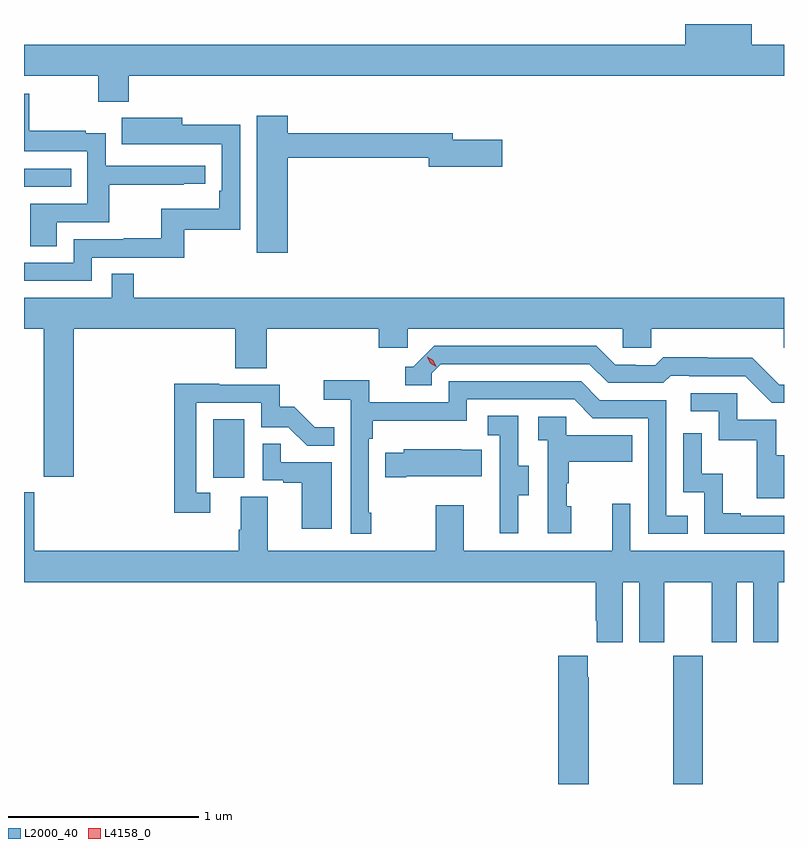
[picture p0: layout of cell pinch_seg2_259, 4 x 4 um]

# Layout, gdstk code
import gdstk
lib = gdstk.Library(unit=1e-6, precision=1e-09)
def R(c, l, rs):  # rectangles x0, y0, x1, y1
    for r in rs: c.add(gdstk.rectangle(r[:2], r[2:], *l))
def P(c, l, *ps):  # polygons
    for p in ps: c.add(gdstk.Polygon(p, *l))
L2000_40 = (2000, 40)
L4158_0 = (4158, 0)

pinch_seg2_259 = lib.new_cell('pinch_seg2_259')
R(pinch_seg2_259, L2000_40, [(892.795,658.561,892.95,659.236), (890.372,660.174,890.536,660.481), (889.377,661.704,889.625,661.8)])
P(pinch_seg2_259, L2000_40, [(889.928,662.288),(893.377,662.288),(893.377,662.452),(893.206,662.452),(893.206,662.561),(892.856,662.561),(892.856,662.452),(889.377,662.452),(889.377,662.288),(889.768,662.288),(889.768,662.153),(889.928,662.153)],
  [(889.549,661.518),(889.826,661.518),(889.826,661.714),(890.219,661.714),(890.219,661.719),(890.332,661.719),(890.332,661.815),(889.806,661.815),(889.806,661.987),(889.703,661.987),(889.703,661.999),(889.405,661.999),(889.405,662.193),(889.377,662.193),(889.377,661.89),(889.71,661.89),(889.71,661.614),(889.409,661.614),(889.409,661.39),(889.549,661.39)],
  [(890.764,661.858),(891.506,661.858),(891.506,661.811),(891.895,661.811),(891.895,661.953),(891.634,661.953),(891.634,661.987),(890.764,661.987),(890.764,662.077),(890.603,662.077),(890.603,661.356),(890.764,661.356)],
  [(889.734,661.332),(890.221,661.332),(890.221,661.479),(890.514,661.479),(890.514,662.03),(890.209,662.03),(890.209,662.068),(889.891,662.068),(889.891,661.928),(890.105,661.928),(890.105,661.929),(890.418,661.929),(890.418,661.684),(890.405,661.684),(890.405,661.588),(890.1,661.588),(890.1,661.433),(889.903,661.433),(889.903,661.428),(889.638,661.428),(889.638,661.305),(889.377,661.305),(889.377,661.209),(889.734,661.209)],
  [(889.64,660.956),(890.489,660.956),(890.489,660.748),(890.654,660.748),(890.654,660.956),(891.245,660.956),(891.245,660.858),(891.396,660.858),(891.396,660.956),(892.527,660.956),(892.527,660.858),(892.677,660.858),(892.677,660.956),(893.375,660.956),(893.375,660.858),(893.377,660.858),(893.377,661.12),(889.955,661.12),(889.955,661.247),(889.839,661.247),(889.839,661.12),(889.377,661.12),(889.377,660.956),(889.48,660.956),(889.48,660.177),(889.64,660.177)],
  [(893.377,660.663),(893.352,660.663),(893.21,660.805),(892.974,660.805),(892.974,660.808),(892.741,660.808),(892.699,660.765),(892.596,660.765),(892.596,660.768),(892.489,660.768),(892.39,660.867),(891.537,660.867),(891.426,660.756),(891.383,660.756),(891.383,660.66),(891.522,660.66),(891.522,660.723),(891.57,660.771),(892.353,660.771),(892.452,660.672),(892.741,660.672),(892.78,660.711),(892.879,660.711),(892.879,660.708),(893.172,660.708),(893.313,660.567),(893.377,660.567)],
  [(891.205,659.989),(891.192,659.989),(891.192,660.377),(891.212,660.377),(891.212,660.473),(891.708,660.473),(891.708,660.585),(892.272,660.585),(892.371,660.486),(892.662,660.486),(892.662,659.877),(892.871,659.877),(892.871,659.973),(892.758,659.973),(892.758,660.582),(892.408,660.582),(892.309,660.681),(891.612,660.681),(891.612,660.57),(891.194,660.57),(891.194,660.686),(890.955,660.686),(890.955,660.584),(891.096,660.584),(891.096,659.877),(891.205,659.877)],
  [(890.356,660.093),(890.283,660.093),(890.283,660.567),(890.625,660.567),(890.625,660.438),(890.769,660.438),(890.867,660.34),(891.011,660.34),(891.011,660.439),(890.907,660.439),(890.8,660.546),(890.724,660.546),(890.724,660.663),(890.405,660.663),(890.405,660.668),(890.167,660.668),(890.167,659.988),(890.356,659.988)],
  [(893.377,660.291),(893.335,660.291),(893.335,660.477),(893.13,660.477),(893.13,660.618),(892.887,660.618),(892.887,660.522),(893.034,660.522),(893.034,660.369),(893.233,660.369),(893.233,660.066),(893.377,660.066)],
  [(891.979,660.082),(892.033,660.082),(892.033,660.237),(891.978,660.237),(891.978,660.5),(891.819,660.5),(891.819,660.397),(891.882,660.397),(891.882,660.093),(891.881,660.093),(891.881,659.88),(891.979,659.88)],
  [(892.258,660.024),(892.233,660.024),(892.233,660.143),(892.243,660.143),(892.243,660.257),(892.577,660.257),(892.577,660.397),(892.23,660.397),(892.23,660.495),(892.083,660.495),(892.083,660.371),(892.134,660.371),(892.134,659.88),(892.258,659.88)],
  [(893.377,659.973),(893.149,659.973),(893.149,659.986),(893.054,659.986),(893.054,660.194),(892.944,660.194),(892.944,660.406),(892.848,660.406),(892.848,660.096),(892.956,660.096),(892.956,659.877),(893.377,659.877)],
  [(890.998,660.255),(890.729,660.255),(890.729,660.353),(890.634,660.353),(890.634,660.159),(890.741,660.159),(890.741,660.147),(890.84,660.147),(890.84,659.904),(890.998,659.904)],
  [(891.388,660.182),(891.785,660.182),(891.785,660.319),(891.677,660.319),(891.677,660.322),(891.375,660.322),(891.375,660.304),(891.277,660.304),(891.277,660.175),(891.388,660.175)],
  [(892.528,659.624),(892.616,659.624),(892.616,659.307),(892.747,659.307),(892.747,659.624),(892.997,659.624),(892.997,659.307),(893.128,659.307),(893.128,659.624),(893.216,659.624),(893.216,659.307),(893.347,659.307),(893.347,659.624),(893.377,659.624),(893.377,659.788),(892.569,659.788),(892.569,660.037),(892.472,660.037),(892.472,659.788),(891.691,659.788),(891.691,660.028),(891.544,660.028),(891.544,659.788),(890.659,659.788),(890.659,660.074),(890.519,660.074),(890.519,659.9),(890.507,659.9),(890.507,659.788),(889.432,659.788),(889.432,660.097),(889.377,660.097),(889.377,659.624),(892.385,659.624),(892.385,659.419),(892.391,659.419),(892.391,659.307),(892.528,659.307)],
  [(892.35,659.123),(892.345,659.123),(892.345,659.236),(892.19,659.236),(892.19,658.561),(892.35,658.561)])
P(pinch_seg2_259, L4158_0, [(891.546,660.757),(891.515,660.776),(891.499,660.808),(891.499,660.809),(891.499,660.809),(891.53,660.79),(891.546,660.758),(891.546,660.757)])

lib.write_gds('pinch_seg2_259.gds')
